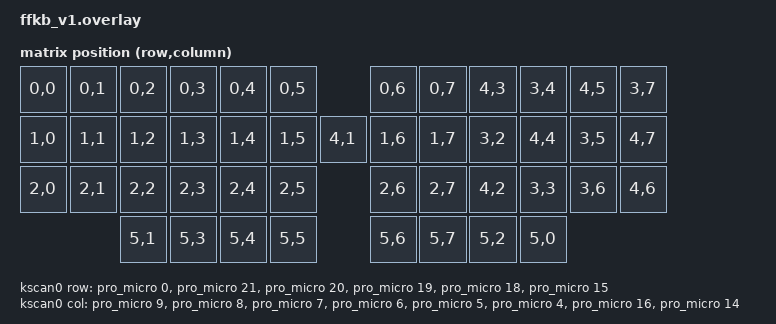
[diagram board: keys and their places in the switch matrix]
/*
 * Copyright (c) 2021 The ZMK Contributors
 *
 * SPDX-License-Identifier: MIT
 */

#include <dt-bindings/zmk/matrix_transform.h>

/ {
    chosen {
        zmk,kscan = &kscan0;
        zmk,matrix_transform = &default_transform;
        // for logging, remove later
        zephyr,console = &cdc_acm_uart;
    };

    kscan0: kscan_0 {
        compatible = "zmk,kscan-gpio-matrix";
        diode-direction = "col2row";
        wakeup-source;

        col-gpios
            = <&pro_micro 9 GPIO_ACTIVE_HIGH> // col 0
            , <&pro_micro 8 GPIO_ACTIVE_HIGH> // col 1
            , <&pro_micro 7 GPIO_ACTIVE_HIGH> // col 2
            , <&pro_micro 6 GPIO_ACTIVE_HIGH>  // col 3
            , <&pro_micro 5 GPIO_ACTIVE_HIGH>  // col 4
            , <&pro_micro 4 GPIO_ACTIVE_HIGH>  // col 5
            , <&pro_micro 16 GPIO_ACTIVE_HIGH> // col 6
            , <&pro_micro 14 GPIO_ACTIVE_HIGH> // col 7
            ;

        row-gpios
            = <&pro_micro 0 (GPIO_ACTIVE_HIGH | GPIO_PULL_DOWN)>  // row 0
            , <&pro_micro 21 (GPIO_ACTIVE_HIGH | GPIO_PULL_DOWN)> // row 1
            , <&pro_micro 20 (GPIO_ACTIVE_HIGH | GPIO_PULL_DOWN)> // row 2
            , <&pro_micro 19 (GPIO_ACTIVE_HIGH | GPIO_PULL_DOWN)> // row 3
            , <&pro_micro 18 (GPIO_ACTIVE_HIGH | GPIO_PULL_DOWN)> // row 4
            , <&pro_micro 15 (GPIO_ACTIVE_HIGH | GPIO_PULL_DOWN)> // row 5
            ;
    };

    default_transform: keymap_transform_0 {
        compatible = "zmk,matrix-transform";
        columns = <8>;
        rows = <6>;

        map = <
             RC(0,0) RC(0,1) RC(0,2) RC(0,3) RC(0,4) RC(0,5)         RC(0,6) RC(0,7) RC(4,3) RC(3,4) RC(4,5) RC(3,7)
             RC(1,0) RC(1,1) RC(1,2) RC(1,3) RC(1,4) RC(1,5) RC(4,1) RC(1,6) RC(1,7) RC(3,2) RC(4,4) RC(3,5) RC(4,7)
             RC(2,0) RC(2,1) RC(2,2) RC(2,3) RC(2,4) RC(2,5)         RC(2,6) RC(2,7) RC(4,2) RC(3,3) RC(3,6) RC(4,6)
                             RC(5,1) RC(5,3) RC(5,4) RC(5,5)         RC(5,6) RC(5,7) RC(5,2) RC(5,0)
        >;
    };
};

// for logging, remove later
&usbd {
    status = "okay";
    cdc_acm_uart: cdc_acm_uart {
        compatible = "zephyr,cdc-acm-uart";
    };
};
